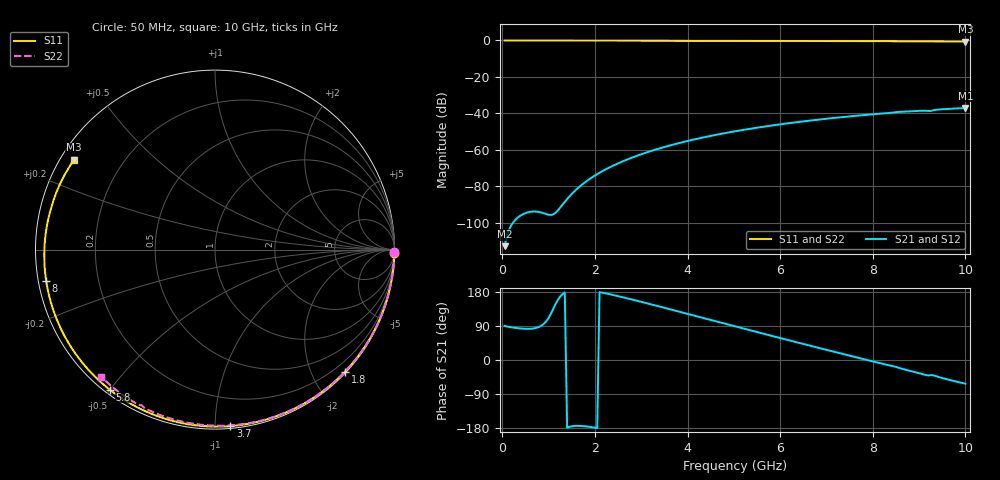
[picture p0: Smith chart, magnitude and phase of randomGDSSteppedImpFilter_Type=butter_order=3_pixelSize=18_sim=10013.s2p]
! freq	dB(S11)	phase(S11)	dB(S12)	phase(S12)
!  dB(S21)	phase(S21)	dB(S22)	phase(S22)
!S-par simulation data
#  GHz  S  DB  R 50
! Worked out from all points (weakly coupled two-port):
!   200 points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, 50 MHz to 10 GHz, reference 50 ohm
!   highest |S21| = -37.09 dB at 10 GHz (marker M1); lowest = -112.9 dB at 50 MHz (marker M2)
!   lowest |S11| = -0.6 dB at 10 GHz (marker M3), VSWR 28.34, Z = 1.91 + j14.6 ohm
!   |S11| at or under -10 dB: nowhere
!   |S22| runs from -0.4 to 0.0 dB; largest |S21 - S12| = 0
!   S11 on the Smith chart (normalised r, x): 50 MHz: 0, -93; 1.8 GHz: 0.02, -2.53; 3.7 GHz: 0.01, -1.09; 5.8 GHz: 0.02, -0.50; 8 GHz: 0.02, -0.09; 10 GHz: 0.04, +0.29
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0.05  -0.00 -1.2  -112.87 90.0  -112.87 90.0  -0.00 -0.8
0.8  -0.02 -19.4  -94.16 87.7  -94.16 87.7  -0.02 -12.1
1.65  -0.05 -39.6  -80.61 -173.8  -80.61 -173.8  -0.03 -24.8
1.7  -0.05 -40.8  -79.54 -174.0  -79.54 -174.0  -0.03 -25.6
1.75  -0.05 -42.0  -78.52 -174.4  -78.52 -174.4  -0.03 -26.3
1.8  -0.05 -43.1  -77.56 -175.0  -77.56 -175.0  -0.03 -27.0
2.1  -0.06 -50.0  -72.59 179.2  -72.59 179.2  -0.04 -31.4
2.5  -0.08 -59.1  -67.44 168.5  -67.44 168.5  -0.05 -37.2
2.9  -0.09 -67.9  -63.34 156.6  -63.34 156.6  -0.06 -43.0
3.4  -0.10 -78.7  -59.18 141.0  -59.18 141.0  -0.07 -50.1
3.7  -0.11 -85.1  -57.06 131.4  -57.06 131.4  -0.07 -54.2
4.35  -0.14 -98.4  -53.15 110.6  -53.15 110.6  -0.09 -63.1
5.05  -0.17 -112.4  -49.73 88.1  -49.73 88.1  -0.11 -72.4
5.8  -0.21 -127.0  -46.73 64.3  -46.73 64.3  -0.14 -82.1
6.7  -0.27 -144.2  -43.80 36.1  -43.80 36.1  -0.18 -93.4
7.35  -0.32 -156.7  -42.04 16.0  -42.04 16.0  -0.22 -101.2
8  -0.38 -169.4  -40.52 -3.8  -40.52 -3.8  -0.26 -109.0
8.35  -0.42 -176.4  -39.81 -14.0  -39.81 -14.0  -0.29 -113.2
9  -0.49 170.0  -38.62 -34.8  -38.62 -34.8  -0.35 -120.4
9.25  -0.52 164.7  -38.72 -39.9  -38.72 -39.9  -0.37 -123.3
9.4  -0.54 161.3  -37.95 -44.0  -37.95 -44.0  -0.38 -125.0
10  -0.61 147.5  -37.09 -62.7  -37.09 -62.7  -0.45 -131.8
